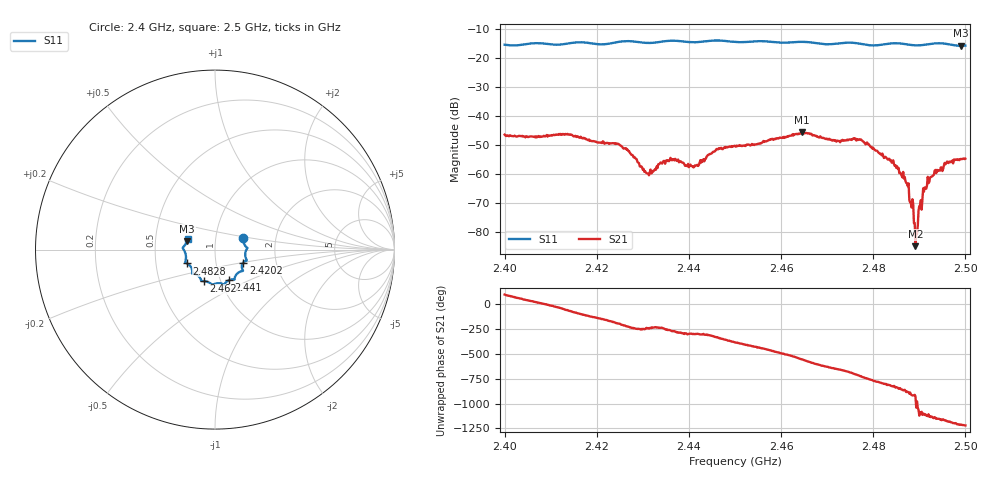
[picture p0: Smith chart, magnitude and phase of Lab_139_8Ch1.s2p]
# Hz S RI R 50
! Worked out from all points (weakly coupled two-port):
!   601 points, 2.4 GHz to 2.5 GHz, reference 50 ohm
!   highest |S21| = -45.66 dB at 2.4645 GHz (marker M1); lowest = -84.9 dB at 2.4892 GHz (marker M2)
!   lowest |S11| = -15.8 dB at 2.499 GHz (marker M3), VSWR 1.39, Z = 36.4 + j3.54 ohm
!   |S11| at or under -10 dB: start of sweep to end of sweep
!   S12 and S22 are empty: the file has one direction only
!   S11 on the Smith chart (normalised r, x): 2.4 GHz: 1.36, +0.17; 2.4202 GHz: 1.36, -0.20; 2.441 GHz: 1.10, -0.39; 2.462 GHz: 0.83, -0.30; 2.4828 GHz: 0.72, -0.11; 2.5 GHz: 0.73, +0.09
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2.4e9  0.1581 0.0619  -0.000394 0.00475  0 0  0 0
2.416667e9  0.1769 -0.0604  -0.00103 -0.00413  0 0  0 0
2.420167e9  0.158 -0.0719  -0.00272 -0.0022  0 0  0 0
2.425e9  0.1543 -0.1133  -0.00298 0.000988  0 0  0 0
2.430833e9  0.1278 -0.1302  -0.000513 0.000891  0 0  0 0
2.433333e9  0.1116 -0.151  -0.000808 0.00123  0 0  0 0
2.4365e9  0.1084 -0.167  6.33e-05 0.00179  0 0  0 0
2.441e9  0.0782 -0.1702  0.00063 0.00113  0 0  0 0
2.446333e9  0.049 -0.195  0.00245 0.00102  0 0  0 0
2.45e9  0.0276 -0.1874  0.00278 -0.00126  0 0  0 0
2.462e9  -0.0611 -0.1755  -0.00421 -0.00182  0 0  0 0
2.4645e9  -0.075 -0.1749  -0.00499 0.00149  0 0  0 0
2.466667e9  -0.0787 -0.1678  -0.00307 0.00374  0 0  0 0
2.477333e9  -0.1268 -0.1209  0.00392 -0.000329  0 0  0 0
2.482833e9  -0.1572 -0.0768  0.000215 -0.00189  0 0  0 0
2.483333e9  -0.1602 -0.0754  -4.17e-05 -0.00182  0 0  0 0
2.487167e9  -0.1628 -0.0577  -0.000674 -0.000186  0 0  0 0
2.489167e9  -0.1621 -0.0341  -5.02e-05 2.64e-05  0 0  0 0
2.491333e9  -0.1701 -0.0078  0.000503 -0.000275  0 0  0 0
2.492333e9  -0.1753 0.000726  0.000578 -0.00065  0 0  0 0
2.499e9  -0.1555 0.0473  -0.00124 -0.00133  0 0  0 0
2.5e9  -0.1524 0.0613  -0.0014 -0.00119  0 0  0 0
